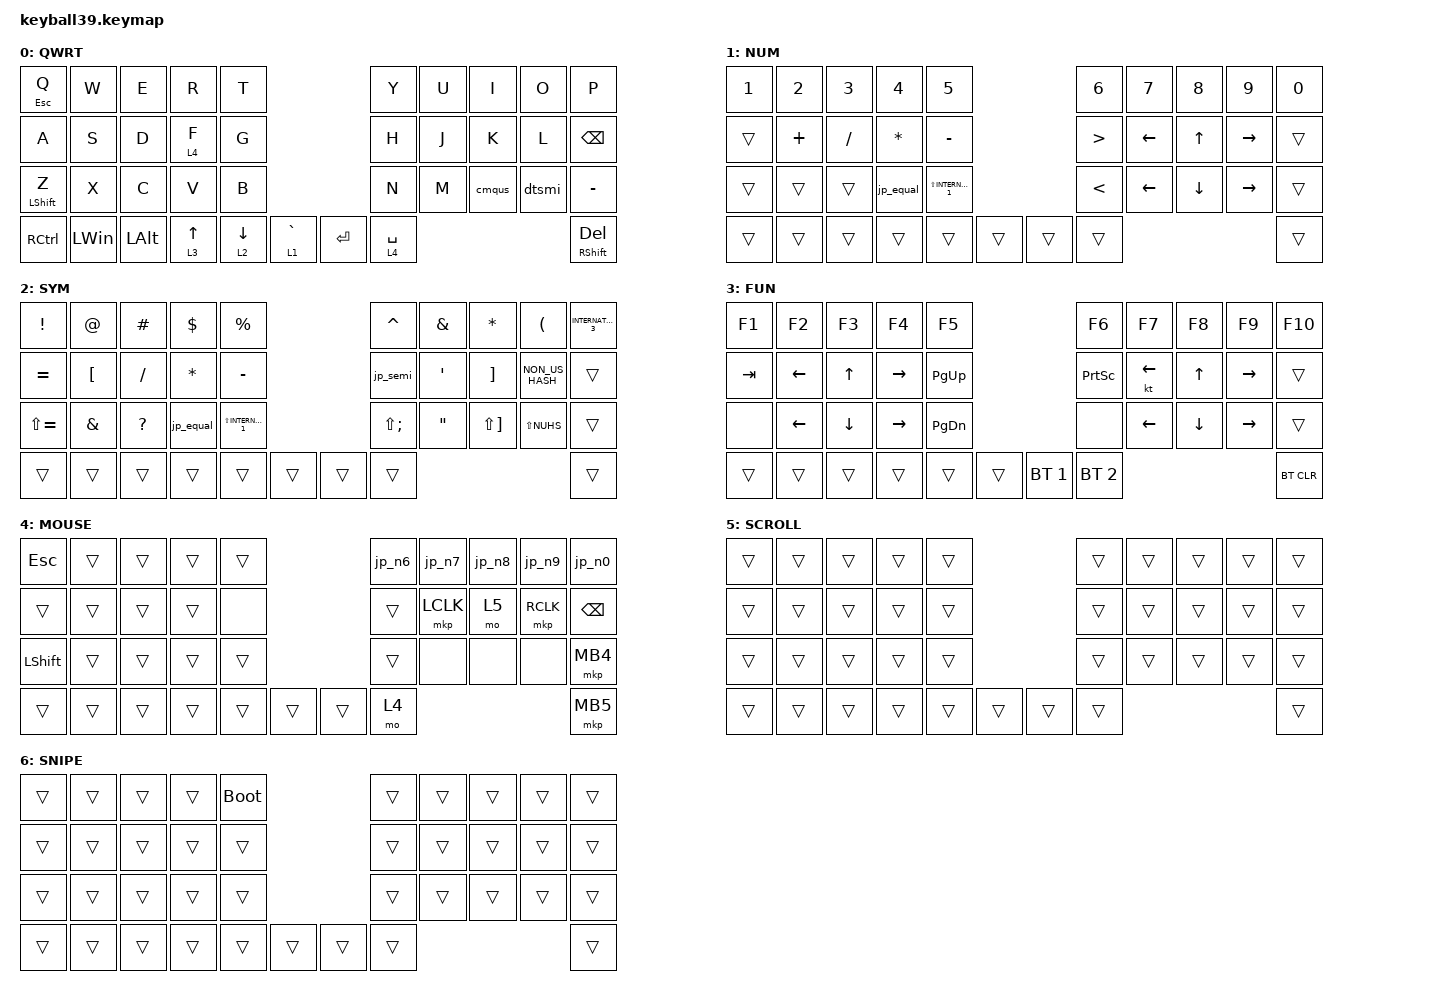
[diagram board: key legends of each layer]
#include <dt-bindings/zmk/mouse.h>
#include <behaviors.dtsi>
#include <dt-bindings/zmk/bt.h>
#include <dt-bindings/zmk/keys.h>
#include <dt-bindings/zmk/pointing.h>

// -----------------------------------------------------
// 日本語配列（JIS）記号の基本定義
// -----------------------------------------------------
// OS設定を日本語キーボードのまま使用するための変換定義

#define JP_DQUOTE       AT                // "
#define JP_AMPERSAND    CARET             // &
#define JP_QUOTE        AMPERSAND         // '
#define JP_EQUAL        UNDER             // =
#define JP_CARET        EQUAL             // ^
#define JP_YEN          0x89              // ¥
#define JP_PLUS         COLON             // +
#define JP_TILDE        PLUS              // ~
#define JP_PIPE         LS(0x89)          // |
#define JP_AT           LEFT_BRACKET      // @
#define JP_COLON        SINGLE_QUOTE      // :
#define JP_ASTERISK     DOUBLE_QUOTES     // *
#define JP_BACKQUOTE    LEFT_BRACE        // `
#define JP_UNDERSCORE   LS(0x87)          // _
#define JP_LBRACKET     RIGHT_BRACKET     // [
#define JP_RBRACKET     BACKSLASH         // ]
#define JP_LPAREN       ASTERISK          // (
#define JP_RPAREN       LEFT_PARENTHESIS  // )
#define JP_LBRACE       RIGHT_BRACE       // {
#define JP_RBRACE       PIPE              // }

// -----------------------------------------------------

#define DEFAULT 0
#define NUM     1
#define SYM     2
#define FUN     3
#define MOUSE   4
#define SCROLL  5
#define SNIPE   6

&lt {
    tapping-term-ms = <240>;
    flavor = "balanced";
    quick-tap-ms = <150>;
};

&mt {
    tapping-term-ms = <200>;
    flavor = "tap-preferred";
    quick-tap-ms = <150>;
};

&caps_word { continue-list = <UNDERSCORE MINUS>; };

/ {
    /* カスタム挙動 */

    behaviors {
        // ---- 🌟Zキー専用のMod-Tap（ここを追加しました）----

        mt_z: mod_tap_z {
            compatible = "zmk,behavior-hold-tap";
            label = "MOD_TAP_Z";
            #binding-cells = <2>;
            flavor = "balanced";
            tapping-term-ms = <300>; // Zキーの長押し判定時間（デフォルトより長め）
            quick-tap-ms = <150>;
            bindings = <&kp>, <&kp>;
        };

        // QWRTレイヤー用のカンマ・ドット（JIS対応版）

        cmqus: comma_question {
            compatible = "zmk,behavior-mod-morph";
            label = "COMMA_QUESTION";
            #binding-cells = <0>;
            bindings = <&kp COMMA>, <&kp LS(SLASH)>;

            // ? は Shift+/

            mods = <(MOD_LSFT|MOD_RSFT)>;
        };

        dtsmi: dot_semi {
            compatible = "zmk,behavior-mod-morph";
            label = "DOT_SEMI";
            #binding-cells = <0>;
            bindings = <&kp DOT>, <&kp SEMI>;

            mods = <(MOD_LSFT|MOD_RSFT)>;
        };

        // ---- US配列エミュレート用 Mod-Morph ----

        jp_n2: jp_n2 {
            compatible = "zmk,behavior-mod-morph";
            #binding-cells = <0>;
            bindings = <&kp N2>, <&kp LBKT>;

            mods = <(MOD_LSFT|MOD_RSFT)>;
        }; // 2 / @
        jp_n6: jp_n6 {
            compatible = "zmk,behavior-mod-morph";
            #binding-cells = <0>;
            bindings = <&kp N6>, <&kp EQUAL>;

            mods = <(MOD_LSFT|MOD_RSFT)>;
        }; // 6 / ^
        jp_n7: jp_n7 {
            compatible = "zmk,behavior-mod-morph";
            #binding-cells = <0>;
            bindings = <&kp N7>, <&kp LS(N6)>;

            mods = <(MOD_LSFT|MOD_RSFT)>;
        }; // 7 / &
        jp_n8: jp_n8 {
            compatible = "zmk,behavior-mod-morph";
            #binding-cells = <0>;
            bindings = <&kp N8>, <&kp LS(SQT)>;

            mods = <(MOD_LSFT|MOD_RSFT)>;
        }; // 8 / *
        jp_n9: jp_n9 {
            compatible = "zmk,behavior-mod-morph";
            #binding-cells = <0>;
            bindings = <&kp N9>, <&kp LS(N8)>;

            mods = <(MOD_LSFT|MOD_RSFT)>;
        }; // 9 / (
        jp_n0: jp_n0 {
            compatible = "zmk,behavior-mod-morph";
            #binding-cells = <0>;
            bindings = <&kp N0>, <&kp LS(N9)>;

            mods = <(MOD_LSFT|MOD_RSFT)>;
        }; // 0 / )
        jp_minus: jp_minus {
            compatible = "zmk,behavior-mod-morph";
            #binding-cells = <0>;
            bindings = <&kp MINUS>, <&kp LS(INT1)>;

            mods = <(MOD_LSFT|MOD_RSFT)>;
        }; // - / _
        jp_semi: jp_semi {
            compatible = "zmk,behavior-mod-morph";
            #binding-cells = <0>;
            bindings = <&kp SEMI>, <&kp SQT>;

            mods = <(MOD_LSFT|MOD_RSFT)>;
        }; // ; / :
        jp_equal: jp_equal {
            compatible = "zmk,behavior-mod-morph";
            #binding-cells = <0>;
            bindings = <&kp LS(MINUS)>, <&kp LS(SEMI)>;

            mods = <(MOD_LSFT|MOD_RSFT)>;
        }; // = / + // ' / "
    };

    /* マクロ */

    macros {
        Hiragana: Hiragana {
            compatible = "zmk,behavior-macro";
            #binding-cells = <0>;
            bindings = <&kp LC(SPACE)>;
            label = "HIRAGANA";
        };
    };

    keymap {
        compatible = "zmk,keymap";

        default_layer {
            label = "QWRT";
            bindings = <
&mt ESC Q     &kp W         &kp E     &kp R           &kp T                                     &kp Y        &kp U  &kp I   &kp O   &kp P
&kp A         &kp S         &kp D     &lt 4 F         &kp G                                     &kp H        &kp J  &kp K   &kp L   &kp BACKSPACE
&mt LSHIFT Z  &kp X         &kp C     &kp V           &kp B                                     &kp N        &kp M  &cmqus  &dtsmi  &kp MINUS
&kp RCTRL     &kp LEFT_WIN  &kp LALT  &lt 3 UP_ARROW  &lt 2 DOWN_ARROW  &lt 1 GRAVE  &kp ENTER  &lt 4 SPACE                         &mt RIGHT_SHIFT DELETE
            >;
        };

        number_layer {
            label = "NUM";
            bindings = <
&kp N1  &kp NUMBER_2  &kp N3     &kp N4        &kp N5                                   &kp NUMBER_6      &kp NUMBER_7  &kp NUMBER_8  &kp NUMBER_9  &kp NUMBER_0
&trans  &kp PLUS      &kp SLASH  &kp ASTERISK  &kp MINUS                                &kp GREATER_THAN  &kp LEFT      &kp UP_ARROW  &kp RIGHT     &trans
&trans  &trans        &trans     &jp_equal     &kp LS(INTERNATIONAL_1)                  &kp LESS_THAN     &kp LEFT      &kp DOWN      &kp RIGHT     &trans
&trans  &trans        &trans     &trans        &trans                   &trans  &trans  &trans                                                      &trans
            >;
        };

        symbol_layer {
            label = "SYM";
            bindings = <
&kp EXCLAMATION  &kp AT    &kp HASH      &kp DOLLAR  &kp PERCENT                              &kp CARET     &kp AMPS           &kp ASTRK     &kp LPAR         &kp INTERNATIONAL_3
&kp EQUAL        &kp LBKT  &kp FSLH      &kp ASTRK   &kp MINUS                                &jp_semi      &kp SQT            &kp RBKT      &kp NON_US_HASH  &trans
&kp LS(EQUAL)    &kp AMPS  &kp QUESTION  &jp_equal   &kp LS(INTERNATIONAL_1)                  &kp LS(SEMI)  &kp DOUBLE_QUOTES  &kp LS(RBKT)  &kp LS(NUHS)     &trans
&trans           &trans    &trans        &trans      &trans                   &trans  &trans  &trans                                                          &trans
            >;
        };

        function_layer {
            label = "FUN";
            bindings = <
&kp F1   &kp F2          &kp F3        &kp F4     &kp F5                           &kp F6           &kp F7          &kp F8        &kp F9     &kp F10
&kp TAB  &kp LEFT_ARROW  &kp UP_ARROW  &kp RIGHT  &kp PG_UP                        &kp PRINTSCREEN  &kt LEFT        &kp UP_ARROW  &kp RIGHT  &trans
&none    &kp LEFT        &kp DOWN      &kp RIGHT  &kp PG_DN                        &none            &kp LEFT_ARROW  &kp DOWN      &kp RIGHT  &trans
&trans   &trans          &trans        &trans     &trans     &trans  &bt BT_SEL 1  &bt BT_SEL 2                                              &bt BT_CLR
            >;
        };

        mouse_layer {
            label = "MOUSE";
            bindings = <
&kp ESCAPE  &trans  &trans  &trans  &trans                  &jp_n6  &jp_n7     &jp_n8  &jp_n9     &jp_n0
&trans      &trans  &trans  &trans  &none                   &trans  &mkp LCLK  &mo 5   &mkp RCLK  &kp BACKSPACE
&kp LSHFT   &trans  &trans  &trans  &trans                  &trans  &none      &none   &none      &mkp MB4
&trans      &trans  &trans  &trans  &trans  &trans  &trans  &mo 4                                 &mkp MB5
            >;
        };

        scroll_layer {
            label = "SCROLL";
            bindings = <
&trans  &trans  &trans  &trans  &trans                  &trans  &trans  &trans  &trans  &trans
&trans  &trans  &trans  &trans  &trans                  &trans  &trans  &trans  &trans  &trans
&trans  &trans  &trans  &trans  &trans                  &trans  &trans  &trans  &trans  &trans
&trans  &trans  &trans  &trans  &trans  &trans  &trans  &trans                          &trans
            >;
        };

        snipe_layer {
            label = "SNIPE";
            bindings = <
&trans  &trans  &trans  &trans  &bootloader                  &trans  &trans  &trans  &trans  &trans
&trans  &trans  &trans  &trans  &trans                       &trans  &trans  &trans  &trans  &trans
&trans  &trans  &trans  &trans  &trans                       &trans  &trans  &trans  &trans  &trans
&trans  &trans  &trans  &trans  &trans       &trans  &trans  &trans                          &trans
            >;
        };
    };
};
